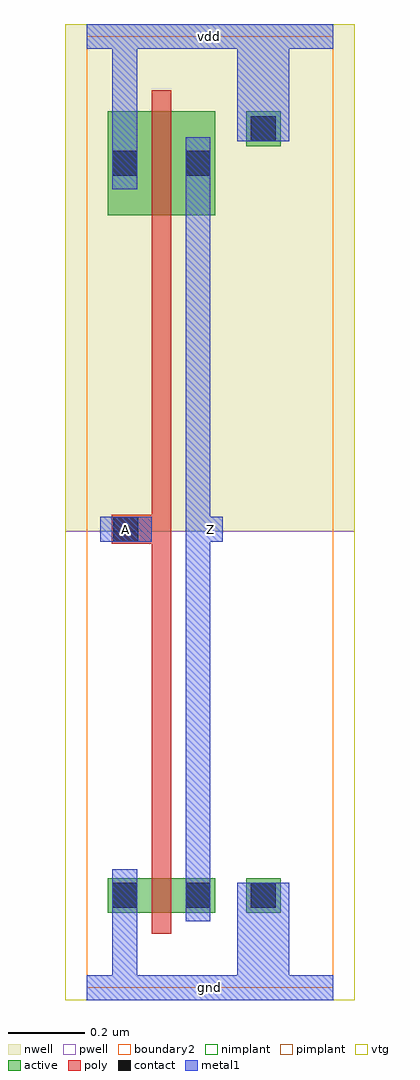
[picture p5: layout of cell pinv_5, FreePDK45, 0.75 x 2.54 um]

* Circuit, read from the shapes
.subckt pinv_5 A Z gnd vdd
M1 Z A gnd gnd nfet w=0.09u l=0.05u
M2 Z A vdd vdd pfet w=0.27u l=0.05u
.ends

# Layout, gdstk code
import gdstk
lib = gdstk.Library(unit=1e-6, precision=5e-10)
def R(c, l, rs):  # rectangles x0, y0, x1, y1
    for r in rs: c.add(gdstk.rectangle(r[:2], r[2:], *l))
active = (1, 0)
pwell = (2, 0)
nwell = (3, 0)
nimplant = (4, 0)
pimplant = (5, 0)
vtg = (6, 0)
poly = (9, 0)
contact = (10, 0)
metal1 = (11, 0)
boundary2 = (239, 0)

contact_11 = lib.new_cell('contact_11')
R(contact_11, active, [(0,0.0225,0.09,0.1125)])
R(contact_11, nwell, [(-0.055,-0.0325,0.145,0.1675)])
R(contact_11, pimplant, [(0,0.0225,0.09,0.1125)])
R(contact_11, contact, [(0.0125,0.035,0.0775,0.1)])
R(contact_11, metal1, [(0.0125,0,0.0775,0.135)])

pmos_m1_w0_270_a_p = lib.new_cell('pmos_m1_w0_270_a_p')
R(pmos_m1_w0_270_a_p, active, [(0,0,0.28,0.27)])
R(pmos_m1_w0_270_a_p, nwell, [(-0.055,-0.055,0.335,0.325)])
R(pmos_m1_w0_270_a_p, pimplant, [(0,0,0.28,0.27)])
R(pmos_m1_w0_270_a_p, vtg, [(-0.055,-0.055,0.335,0.325)])
R(pmos_m1_w0_270_a_p, poly, [(0.115,-0.055,0.165,0.325), (0.115,-0.055,0.165,0.325)])
R(pmos_m1_w0_270_a_p, metal1, [(0.0125,0.0675,0.0775,0.2025), (0.2025,0.0675,0.2675,0.2025)])
R(pmos_m1_w0_270_a_p, boundary2, [(-0.055,-0.055,0.335,0.325)])
pmos_m1_w0_270_a_p.add(gdstk.Reference(contact_11, (0,0.0675)))
pmos_m1_w0_270_a_p.add(gdstk.Reference(contact_11, (0.19,0.0675)))
pmos_m1_w0_270_a_p.add(gdstk.Label('G', (0.14,0.135), layer=9, texttype=0))
pmos_m1_w0_270_a_p.add(gdstk.Label('S', (0.045,0.135), layer=11, texttype=0))
pmos_m1_w0_270_a_p.add(gdstk.Label('D', (0.235,0.135), layer=11, texttype=0))

contact_16 = lib.new_cell('contact_16')
R(contact_16, active, [(0,0.0225,0.09,0.1125)])
R(contact_16, pwell, [(-0.055,-0.0325,0.145,0.1675)])
R(contact_16, nimplant, [(0,0.0225,0.09,0.1125)])
R(contact_16, contact, [(0.0125,0.035,0.0775,0.1)])
R(contact_16, metal1, [(0.0125,0,0.0775,0.135)])

nmos_m1_w0_090_a_p = lib.new_cell('nmos_m1_w0_090_a_p')
R(nmos_m1_w0_090_a_p, active, [(0,0,0.28,0.09)])
R(nmos_m1_w0_090_a_p, pwell, [(-0.055,-0.055,0.335,0.145)])
R(nmos_m1_w0_090_a_p, nimplant, [(0,0,0.28,0.09)])
R(nmos_m1_w0_090_a_p, vtg, [(-0.055,-0.055,0.335,0.145)])
R(nmos_m1_w0_090_a_p, poly, [(0.115,-0.055,0.165,0.145), (0.115,-0.055,0.165,0.145)])
R(nmos_m1_w0_090_a_p, metal1, [(0.0125,-0.0225,0.0775,0.1125), (0.2025,-0.0225,0.2675,0.1125)])
R(nmos_m1_w0_090_a_p, boundary2, [(-0.055,-0.055,0.335,0.145)])
nmos_m1_w0_090_a_p.add(gdstk.Reference(contact_16, (0,-0.0225)))
nmos_m1_w0_090_a_p.add(gdstk.Reference(contact_16, (0.19,-0.0225)))
nmos_m1_w0_090_a_p.add(gdstk.Label('G', (0.14,0.045), layer=9, texttype=0))
nmos_m1_w0_090_a_p.add(gdstk.Label('S', (0.045,0.045), layer=11, texttype=0))
nmos_m1_w0_090_a_p.add(gdstk.Label('D', (0.235,0.045), layer=11, texttype=0))

contact_13 = lib.new_cell('contact_13')
R(contact_13, active, [(0.0225,0,0.1125,0.09)])
R(contact_13, nwell, [(-0.0325,-0.055,0.1675,0.145)])
R(contact_13, nimplant, [(0.0225,0,0.1125,0.09)])
R(contact_13, contact, [(0.035,0.0125,0.1,0.0775)])
R(contact_13, metal1, [(0,0.0125,0.135,0.0775)])

contact_17 = lib.new_cell('contact_17')
R(contact_17, active, [(0.0225,0,0.1125,0.09)])
R(contact_17, pwell, [(-0.0325,-0.055,0.1675,0.145)])
R(contact_17, pimplant, [(0.0225,0,0.1125,0.09)])
R(contact_17, contact, [(0.035,0.0125,0.1,0.0775)])
R(contact_17, metal1, [(0,0.0125,0.135,0.0775)])

contact_12 = lib.new_cell('contact_12')
R(contact_12, poly, [(0.03,0,0.105,0.075)])
R(contact_12, contact, [(0.035,0.005,0.1,0.07)])
R(contact_12, metal1, [(0,0.005,0.135,0.07)])

pinv_5 = lib.new_cell('pinv_5')
R(pinv_5, pwell, [(-0.055,-0.0325,0.6975,1.1875)])
R(pinv_5, nwell, [(-0.055,1.1875,0.6975,2.5075)])
R(pinv_5, vtg, [(-0.055,-0.0325,0.6975,1.1875), (-0.055,1.1875,0.6975,2.5075)])
R(pinv_5, poly, [(0.17,0.34,0.22,1.955), (0.1025,1.155,0.17,1.23)])
R(pinv_5, metal1, [(0,-0.0325,0.6425,0.0325), (0.0675,-0.0325,0.1325,0.1725), (0.3925,0,0.5275,0.24), (0.2575,0.1725,0.3225,2.2125), (0.035,1.16,0.17,1.225), (0.29,1.16,0.355,1.225), (0.0675,2.0775,0.1325,2.5075), (0.3925,2.235,0.5275,2.475), (0,2.4425,0.6425,2.5075)])
R(pinv_5, boundary2, [(0,0,0.6425,2.475)])
pinv_5.add(gdstk.Reference(pmos_m1_w0_270_a_p, (0.055,2.01)))
pinv_5.add(gdstk.Reference(nmos_m1_w0_090_a_p, (0.055,0.195)))
pinv_5.add(gdstk.Reference(contact_13, (0.3925,2.19)))
pinv_5.add(gdstk.Reference(contact_17, (0.3925,0.195)))
pinv_5.add(gdstk.Reference(contact_12, (0.035,1.155)))
pinv_5.add(gdstk.Label('gnd', (0.321,0), layer=11, texttype=0))
pinv_5.add(gdstk.Label('vdd', (0.321,2.475), layer=11, texttype=0))
pinv_5.add(gdstk.Label('A', (0.1025,1.1925), layer=11, texttype=0))
pinv_5.add(gdstk.Label('Z', (0.3225,1.1925), layer=11, texttype=0))

lib.write_gds('pinv_5.gds')
